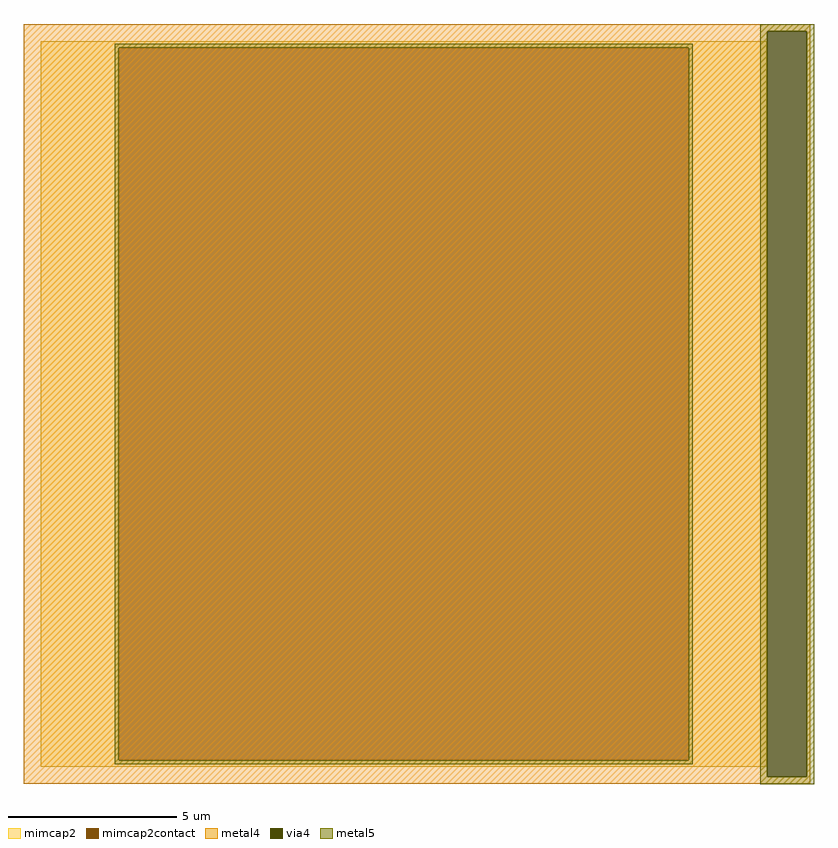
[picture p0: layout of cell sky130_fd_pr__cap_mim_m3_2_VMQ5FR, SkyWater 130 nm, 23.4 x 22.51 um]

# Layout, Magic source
magic
tech sky130A
magscale 1 2
<< metal4 >>
rect -2329 2209 2329 2250
rect -2329 -2209 2073 2209
rect 2309 -2209 2329 2209
rect -2329 -2250 2329 -2209
<< via4 >>
rect 2073 -2209 2309 2209
<< mimcap2 >>
rect -2229 2110 2071 2150
rect -2229 -2110 -1767 2110
rect 1609 -2110 2071 2110
rect -2229 -2150 2071 -2110
<< mimcap2contact >>
rect -1767 -2110 1609 2110
<< metal5 >>
rect 2031 2209 2351 2251
rect -1791 2110 1633 2134
rect -1791 -2110 -1767 2110
rect 1609 -2110 1633 2110
rect -1791 -2134 1633 -2110
rect 2031 -2209 2073 2209
rect 2309 -2209 2351 2209
rect 2031 -2251 2351 -2209
<< properties >>
string FIXED_BBOX -2329 -2250 2171 2250
string gencell sky130_fd_pr__cap_mim_m3_2
string library sky130
string parameters w 21.5 l 21.5 val 940.84 carea 2.00 cperi 0.19 nx 1 ny 1 dummy 0 square 0 lmin 2.00 wmin 2.00 lmax 30.0 wmax 30.0 dc 0 bconnect 1 tconnect 1 ccov 80
<< end >>
